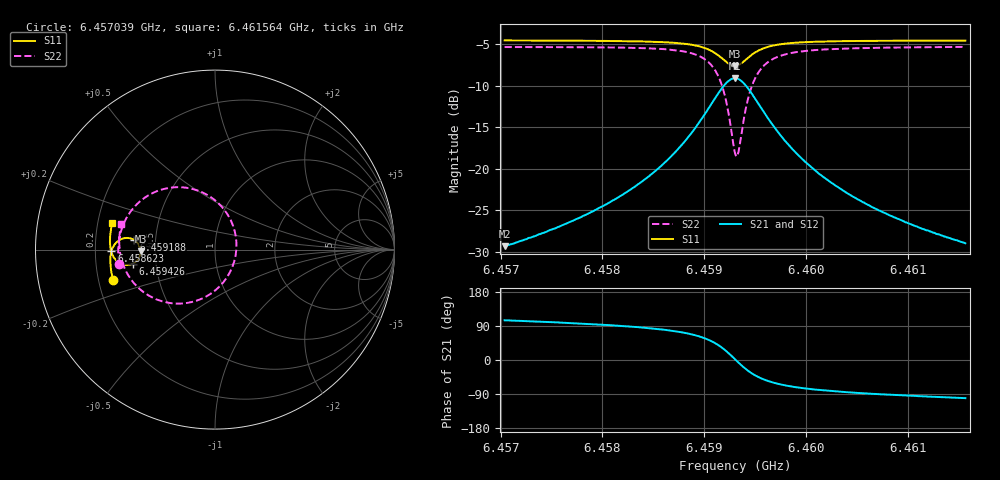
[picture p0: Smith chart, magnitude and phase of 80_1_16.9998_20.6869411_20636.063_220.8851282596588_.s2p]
#  HZ  S  RI  R  50.00
! Rohde & Schwarz Vector Network Analyzer
! Rohde-Schwarz,ZNB20-2Port,1311601062101988,3.16
! Created: UTC 3/20/2024, 10:55:41 PM
! freq[Hz]  re:S11  im:S11  re:S21  im:S21  re:S12  im:S12  re:S22  im:S22
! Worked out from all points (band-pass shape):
!   401 points, 6.457039 GHz to 6.461564 GHz, reference 50 ohm
!   highest |S21| = -9.11 dB at 6.459302 GHz (marker M1); lowest = -29.3 dB at 6.457039 GHz (marker M2)
!   |S21| within 3 dB of the highest: 6.459075 GHz to 6.459528 GHz (453 kHz wide, 0.00701 % of centre)
!   lowest |S11| = -7.6 dB at 6.459302 GHz (marker M3), VSWR 2.42, Z = 20.7 - j0.526 ohm
!   |S11| at or under -10 dB: nowhere
!   |S22| runs from -18.5 to -5.3 dB; largest |S21 - S12| = 0.014
!   S11 on the Smith chart (normalised r, x): 6.457039 GHz: 0.26, -0.14; 6.458623 GHz: 0.27, -0.01; 6.459188 GHz: 0.38, +0.05; 6.459426 GHz: 0.37, -0.07; 6.461564 GHz: 0.26, +0.12
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6.4570388e9  -0.5674 -0.1689  -0.00876 0.0331  -0.00709 0.033  -0.5345 -0.0785
6.4577969e9  -0.5808 -0.1023  -0.00533 0.0512  -0.00274 0.0506  -0.5387 0.0113
6.4582155e9  -0.5835 -0.0599  0.000798 0.071  0.00402 0.0695  -0.5299 0.0785
6.4585549e9  -0.5794 -0.0189  0.015 0.1002  0.019 0.0975  -0.5034 0.1564
6.4586228e9  -0.5771 -0.00938  0.0205 0.1086  0.0246 0.1054  -0.4933 0.1765
6.4588151e9  -0.5642 0.021  0.0476 0.14  0.0516 0.135  -0.4422 0.2459
6.4589622e9  -0.541 0.0474  0.0938 0.1707  0.0969 0.164  -0.3571 0.3101
6.459098e9  -0.4965 0.0648  0.1823 0.187  0.1832 0.1796  -0.1953 0.3476
6.4591885e9  -0.4511 0.054  0.2734 0.1547  0.2736 0.1489  -0.0271 0.2947
6.4592564e9  -0.4217 0.0212  0.3343 0.0812  0.3365 0.076  0.0885 0.1622
6.4593016e9  -0.4148 -0.0105  0.3503 0.0125  0.354 0.00536  0.1196 0.0334
6.4593129e9  -0.4153 -0.0187  0.35 -0.00563  0.3539 -0.0133  0.1188 -0.000692
6.4593356e9  -0.4189 -0.0346  0.3441 -0.0406  0.3481 -0.0499  0.1068 -0.0671
6.4593808e9  -0.4349 -0.0611  0.3148 -0.1011  0.317 -0.1133  0.0474 -0.1809
6.4594261e9  -0.4572 -0.0776  0.272 -0.1425  0.2711 -0.1559  -0.0393 -0.2557
6.4595166e9  -0.5013 -0.0848  0.186 -0.1734  0.1798 -0.1852  -0.2103 -0.3008
6.4596637e9  -0.5457 -0.0643  0.0972 -0.1591  0.0886 -0.1653  -0.3791 -0.2498
6.4598221e9  -0.5677 -0.0366  0.0519 -0.1306  0.0442 -0.1334  -0.4598 -0.1769
6.4600597e9  -0.5807 -0.00123  0.0224 -0.0986  0.0164 -0.0991  -0.5079 -0.0938
6.4603878e9  -0.5854 0.0384  0.00662 -0.0721  0.00246 -0.0716  -0.529 -0.0164
6.4608177e9  -0.5837 0.082  -0.00147 -0.0525  -0.00438 -0.0518  -0.5334 0.0537
6.4615644e9  -0.572 0.1484  -0.00658 -0.035  -0.0083 -0.0341  -0.5221 0.1428
